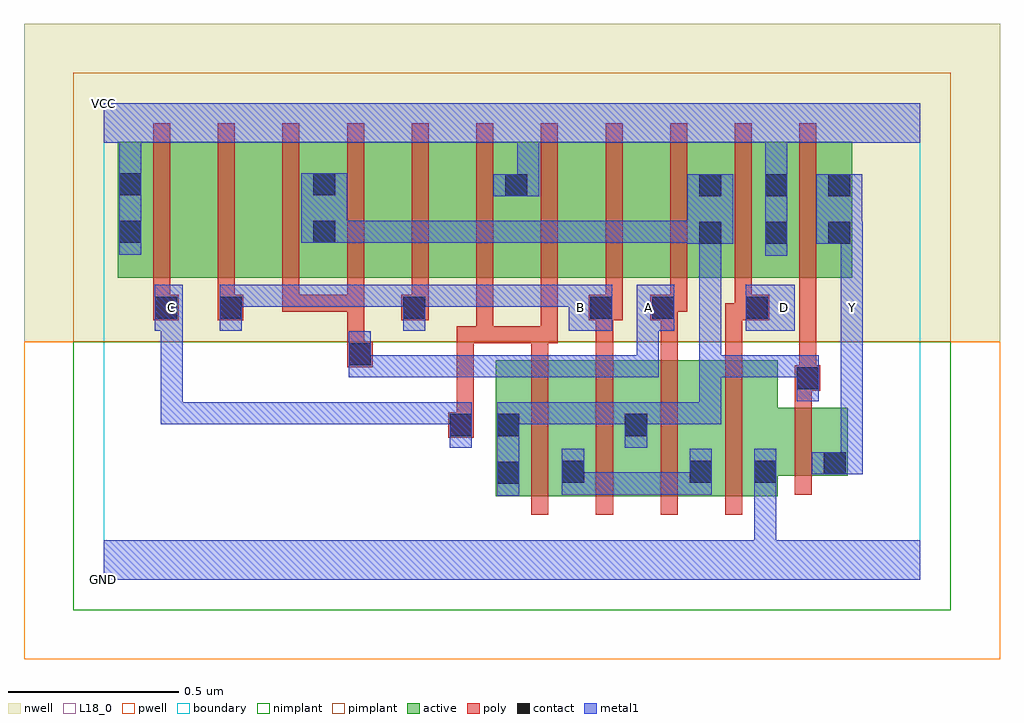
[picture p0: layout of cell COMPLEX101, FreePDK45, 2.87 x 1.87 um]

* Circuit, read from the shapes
.subckt COMPLEX101 A B C D GND VCC Y
M1 n1 C n2 VSUBS nfet w=0.4u l=0.05u
M2 n2 B n1 VSUBS nfet w=0.4u l=0.05u
M3 n1 A n2 VSUBS nfet w=0.4u l=0.05u
M4 GND D n1 VSUBS nfet w=0.4u l=0.05u
M5 Y n2 GND VSUBS nfet w=0.2u l=0.05u
M6 n3 C VCC n4 pfet w=0.4u l=0.05u
M7 n5 B n3 n4 pfet w=0.4u l=0.05u
M8 n2 A n5 n4 pfet w=0.4u l=0.05u
M9 n6 A n2 n4 pfet w=0.4u l=0.05u
M10 n7 B n6 n4 pfet w=0.4u l=0.05u
M11 VCC C n7 n4 pfet w=0.4u l=0.05u
M12 n8 C VCC n4 pfet w=0.4u l=0.05u
M13 n9 B n8 n4 pfet w=0.4u l=0.05u
M14 n2 A n9 n4 pfet w=0.4u l=0.05u
M15 VCC D n2 n4 pfet w=0.4u l=0.05u
M16 Y n2 VCC n4 pfet w=0.4u l=0.05u
.ends

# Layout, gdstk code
import gdstk
lib = gdstk.Library(unit=1e-6, precision=1e-09)
def R(c, l, rs):  # rectangles x0, y0, x1, y1
    for r in rs: c.add(gdstk.rectangle(r[:2], r[2:], *l))
def A(c, l, x, y, w, h, nx, ny, dx, dy):  # array of equal rectangles
    R(c, l, [(x+i*dx, y+j*dy, x+i*dx+w, y+j*dy+h) for i in range(nx) for j in range(ny)])
active = (1, 0)
pwell = (2, 0)
nwell = (3, 0)
nimplant = (4, 0)
pimplant = (5, 0)
poly = (9, 0)
contact = (10, 0)
metal1 = (11, 0)
L18_0 = (18, 0)
boundary = (235, 0)

complex101 = lib.new_cell('COMPLEX101')
A(complex101, active, 0.265, 0.887, 0.19, 0.4, 3, 1, 0.57, 0)
R(complex101, active, [(1.152,0.245,1.417,0.645), (1.152,0.245,1.227,0.645), (1.342,0.245,1.602,0.645), (1.342,0.245,1.417,0.492), (1.527,0.245,1.792,0.645), (1.527,0.245,1.602,0.597), (1.717,0.245,1.982,0.645), (1.717,0.245,1.792,0.567), (1.907,0.245,1.982,0.355), (1.907,0.305,2.187,0.505), (2.112,0.305,2.187,0.505), (0.04,0.887,0.115,1.2), (0.04,0.887,0.265,1.287), (0.455,0.887,0.685,1.287), (0.61,0.887,0.835,1.287), (1.025,0.887,1.25,1.287), (1.175,0.887,1.405,1.287), (1.595,0.887,1.82,1.287), (1.745,0.887,2.015,1.287), (1.94,0.887,2.2,1.287), (2.125,0.887,2.2,1.2), (0.61,0.907,0.685,1.2), (1.175,0.907,1.25,1.197), (1.745,0.907,1.82,1.2), (1.94,0.907,2.015,1.197)])
R(complex101, pwell, [(-0.235,-0.235,2.635,0.7)])
R(complex101, nwell, [(-0.235,0.7,2.635,1.635)])
R(complex101, nimplant, [(-0.09,-0.09,2.49,0.7)])
R(complex101, pimplant, [(-0.09,0.7,2.49,1.49)])
A(complex101, poly, 1.257, 0.19, 0.05, 0.51, 4, 1, 0.19, 0)
A(complex101, poly, 1.447, 0.65, 0.05, 0.162, 3, 1, 0.19, 0)
A(complex101, poly, 0.145, 0.787, 0.05, 0.095, 5, 1, 0.19, 0)
A(complex101, poly, 1.475, 0.787, 0.05, 0.095, 3, 1, 0.19, 0)
A(complex101, poly, 0.145, 0.832, 0.05, 0.51, 11, 1, 0.19, 0)
R(complex101, poly, [(2.032,0.25,2.082,0.56), (1.012,0.417,1.087,0.492), (1.037,0.442,1.087,0.745), (2.032,0.51,2.082,0.605), (2.032,0.555,2.107,0.63), (2.045,0.58,2.095,0.882), (2.045,0.58,2.095,0.63), (2.045,0.58,2.095,0.63), (0.715,0.625,0.79,0.7), (0.715,0.65,0.765,0.837), (1.257,0.65,1.307,0.745), (1.037,0.695,1.087,0.745), (1.037,0.695,1.087,0.745), (1.037,0.695,1.102,0.745), (1.052,0.695,1.102,0.745), (1.052,0.695,1.145,0.745), (1.095,0.695,1.145,0.882), (1.095,0.695,1.307,0.745), (1.257,0.695,1.307,0.745), (1.257,0.695,1.307,0.745), (1.257,0.695,1.307,0.745), (1.257,0.695,1.307,0.745), (1.257,0.695,1.335,0.745), (1.285,0.695,1.335,0.882), (0.145,0.762,0.22,0.837), (0.335,0.762,0.41,0.837), (0.875,0.762,0.955,0.837), (1.425,0.762,1.525,0.837), (1.447,0.762,1.497,0.812), (1.447,0.762,1.497,0.812), (1.607,0.762,1.687,0.837), (1.827,0.762,1.905,0.812), (1.855,0.762,1.905,0.812), (1.855,0.762,1.957,0.837), (0.145,0.787,0.195,0.837), (0.145,0.787,0.195,0.837), (0.525,0.787,0.575,0.837), (0.525,0.787,0.765,0.837), (0.715,0.787,0.765,0.837), (0.715,0.787,0.765,0.837), (0.715,0.787,0.765,0.837), (1.637,0.787,1.687,0.837), (1.637,0.787,1.715,0.837)])
R(complex101, contact, [(1.157,0.282,1.222,0.347), (1.347,0.285,1.412,0.35), (1.722,0.285,1.787,0.35), (1.912,0.285,1.977,0.35), (2.117,0.31,2.182,0.375), (1.017,0.422,1.082,0.487), (1.157,0.422,1.222,0.487), (1.532,0.422,1.597,0.487), (2.037,0.56,2.102,0.625), (0.72,0.63,0.785,0.695), (0.15,0.767,0.215,0.832), (0.34,0.767,0.405,0.832), (0.88,0.767,0.945,0.832), (1.43,0.767,1.495,0.832), (1.612,0.767,1.677,0.832), (1.887,0.767,1.952,0.832), (1.75,0.987,1.815,1.052), (1.945,0.987,2.01,1.052), (2.13,0.987,2.195,1.052), (0.045,0.99,0.11,1.055), (0.615,0.99,0.68,1.055), (1.18,1.127,1.245,1.192), (1.75,1.127,1.815,1.192), (1.945,1.127,2.01,1.192), (2.13,1.127,2.195,1.192), (0.045,1.13,0.11,1.195), (0.615,1.13,0.68,1.195)])
R(complex101, metal1, [(0,0,2.4,0.115), (1.912,0.05,1.977,0.315), (1.157,0.247,1.222,0.522), (1.347,0.25,1.412,0.315), (1.347,0.25,1.412,0.315), (1.347,0.25,1.412,0.385), (1.347,0.25,1.642,0.315), (1.577,0.25,1.642,0.315), (1.577,0.25,1.787,0.315), (1.722,0.25,1.787,0.315), (1.722,0.25,1.787,0.315), (1.722,0.25,1.787,0.385), (1.912,0.25,1.977,0.385), (2.082,0.31,2.232,0.375), (2.167,0.31,2.232,0.797), (1.017,0.387,1.082,0.522), (1.532,0.387,1.597,0.522), (0.167,0.457,0.232,0.522), (0.167,0.457,0.44,0.522), (0.167,0.457,0.232,0.797), (0.375,0.457,0.44,0.522), (0.375,0.457,0.44,0.522), (0.375,0.457,0.44,0.522), (0.375,0.457,0.577,0.522), (0.512,0.457,0.577,0.522), (0.512,0.457,0.715,0.522), (0.65,0.457,0.715,0.522), (0.65,0.457,0.715,0.522), (0.65,0.457,0.715,0.522), (0.65,0.457,0.862,0.522), (0.797,0.457,0.862,0.522), (0.797,0.457,0.922,0.522), (0.857,0.457,0.922,0.522), (0.857,0.457,1,0.522), (0.935,0.457,1,0.522), (0.935,0.457,1,0.522), (0.935,0.457,1,0.522), (0.935,0.457,1.082,0.522), (1.157,0.457,1.275,0.522), (1.21,0.457,1.275,0.522), (1.21,0.457,1.412,0.522), (1.347,0.457,1.412,0.522), (1.347,0.457,1.412,0.522), (1.347,0.457,1.412,0.522), (1.347,0.457,1.597,0.522), (1.532,0.457,1.815,0.522), (1.75,0.457,1.815,0.522), (1.75,0.457,1.815,0.522), (1.75,0.457,1.815,0.522), (1.75,0.457,1.815,0.66), (2.037,0.525,2.102,0.66), (0.72,0.595,0.785,0.73), (0.72,0.595,0.862,0.66), (0.797,0.595,0.862,0.66), (0.797,0.595,0.922,0.66), (0.857,0.595,0.922,0.66), (0.857,0.595,1,0.66), (0.935,0.595,1,0.66), (0.935,0.595,1.137,0.66), (1.072,0.595,1.137,0.66), (1.072,0.595,1.137,0.66), (1.072,0.595,1.137,0.66), (1.072,0.595,1.275,0.66), (1.21,0.595,1.275,0.66), (1.21,0.595,1.46,0.66), (1.395,0.595,1.46,0.66), (1.395,0.595,1.46,0.66), (1.395,0.595,1.46,0.66), (1.395,0.595,1.632,0.66), (1.567,0.595,1.632,0.797), (1.75,0.595,1.815,0.66), (1.75,0.595,1.815,0.66), (1.75,0.595,1.815,0.66), (1.75,0.595,1.952,0.66), (1.75,0.595,1.815,1.052), (1.887,0.595,1.952,0.66), (1.887,0.595,1.952,0.66), (1.887,0.595,1.952,0.66), (1.887,0.595,2.102,0.66), (0.15,0.732,0.232,0.867), (0.167,0.732,0.232,0.797), (0.167,0.732,0.232,0.797), (0.34,0.732,0.405,0.867), (0.88,0.732,0.945,0.867), (1.367,0.732,1.495,0.867), (1.567,0.732,1.632,0.797), (1.567,0.732,1.677,0.867), (1.887,0.732,2.032,0.867), (2.167,0.732,2.232,0.867), (0.34,0.802,0.405,0.867), (0.34,0.802,0.405,0.867), (0.34,0.802,0.577,0.867), (0.512,0.802,0.577,0.867), (0.512,0.802,0.725,0.867), (0.66,0.802,0.725,0.867), (0.66,0.802,0.725,0.867), (0.66,0.802,0.725,0.867), (0.66,0.802,0.862,0.867), (0.797,0.802,0.862,0.867), (0.797,0.802,0.945,0.867), (0.88,0.802,1,0.867), (0.935,0.802,1,0.867), (0.935,0.802,1.137,0.867), (1.072,0.802,1.137,0.867), (1.072,0.802,1.137,0.867), (1.072,0.802,1.137,0.867), (1.072,0.802,1.275,0.867), (1.21,0.802,1.275,0.867), (1.21,0.802,1.432,0.867), (1.367,0.802,1.432,0.867), (1.367,0.802,1.432,0.867), (2.167,0.802,2.232,1.052), (1.945,0.952,2.01,1.227), (0.045,0.955,0.11,1.23), (1.715,0.987,1.85,1.192), (2.095,0.987,2.23,1.192), (2.165,0.987,2.23,1.052), (2.165,0.987,2.232,1.052), (0.58,0.99,0.715,1.195), (0.65,0.99,0.715,1.055), (0.65,0.99,0.715,1.055), (0.65,0.99,0.862,1.055), (0.797,0.99,0.862,1.055), (0.797,0.99,0.922,1.055), (0.857,0.99,0.922,1.055), (0.857,0.99,1,1.055), (0.935,0.99,1,1.055), (0.935,0.99,1.137,1.055), (1.072,0.99,1.137,1.055), (1.072,0.99,1.137,1.055), (1.072,0.99,1.137,1.055), (1.072,0.99,1.275,1.055), (1.21,0.99,1.275,1.055), (1.21,0.99,1.46,1.055), (1.395,0.99,1.46,1.055), (1.395,0.99,1.46,1.055), (1.395,0.99,1.46,1.055), (1.395,0.99,1.642,1.055), (1.577,0.99,1.642,1.055), (1.577,0.99,1.78,1.055), (1.715,0.99,1.78,1.055), (1.715,0.99,1.78,1.055), (1.145,1.127,1.28,1.192), (1.215,1.127,1.28,1.35), (1.945,1.162,2.01,1.35), (0.045,1.165,0.11,1.35), (0,1.285,2.4,1.4)])
R(complex101, L18_0, [(0,0,2.4,0.115), (1.912,0.05,1.977,0.315), (1.912,0.25,1.977,0.385), (2.082,0.31,2.232,0.375), (2.167,0.31,2.232,0.797), (1.017,0.387,1.082,0.522), (0.167,0.457,0.232,0.522), (0.167,0.457,0.232,0.797), (0.167,0.457,0.44,0.522), (0.375,0.457,0.44,0.522), (0.375,0.457,0.44,0.522), (0.375,0.457,0.44,0.522), (0.375,0.457,0.577,0.522), (0.512,0.457,0.577,0.522), (0.512,0.457,0.715,0.522), (0.65,0.457,0.715,0.522), (0.65,0.457,0.715,0.522), (0.65,0.457,0.715,0.522), (0.65,0.457,0.862,0.522), (0.797,0.457,0.862,0.522), (0.797,0.457,0.922,0.522), (0.857,0.457,0.922,0.522), (0.857,0.457,1,0.522), (0.935,0.457,1,0.522), (0.935,0.457,1,0.522), (0.935,0.457,1,0.522), (0.935,0.457,1.082,0.522), (0.72,0.595,0.785,0.73), (0.72,0.595,0.862,0.66), (0.797,0.595,0.862,0.66), (0.797,0.595,0.922,0.66), (0.857,0.595,0.922,0.66), (0.857,0.595,1,0.66), (0.935,0.595,1,0.66), (0.935,0.595,1.137,0.66), (1.072,0.595,1.137,0.66), (1.072,0.595,1.137,0.66), (1.072,0.595,1.137,0.66), (1.072,0.595,1.275,0.66), (1.21,0.595,1.275,0.66), (1.21,0.595,1.46,0.66), (1.395,0.595,1.46,0.66), (1.395,0.595,1.46,0.66), (1.395,0.595,1.46,0.66), (1.395,0.595,1.632,0.66), (1.567,0.595,1.632,0.797), (0.15,0.732,0.232,0.867), (0.167,0.732,0.232,0.797), (0.167,0.732,0.232,0.797), (0.34,0.732,0.405,0.867), (0.88,0.732,0.945,0.867), (1.367,0.732,1.495,0.867), (1.567,0.732,1.632,0.797), (1.567,0.732,1.677,0.867), (1.887,0.732,2.032,0.867), (2.167,0.732,2.232,0.867), (0.167,0.767,0.232,0.832), (1.367,0.767,1.432,0.832), (1.567,0.767,1.632,0.832), (1.967,0.767,2.032,0.832), (2.167,0.767,2.232,0.832), (0.34,0.802,0.405,0.867), (0.34,0.802,0.405,0.867), (0.34,0.802,0.577,0.867), (0.512,0.802,0.577,0.867), (0.512,0.802,0.725,0.867), (0.66,0.802,0.725,0.867), (0.66,0.802,0.725,0.867), (0.66,0.802,0.725,0.867), (0.66,0.802,0.862,0.867), (0.797,0.802,0.862,0.867), (0.797,0.802,0.945,0.867), (0.88,0.802,1,0.867), (0.935,0.802,1,0.867), (0.935,0.802,1.137,0.867), (1.072,0.802,1.137,0.867), (1.072,0.802,1.137,0.867), (1.072,0.802,1.137,0.867), (1.072,0.802,1.275,0.867), (1.21,0.802,1.275,0.867), (1.21,0.802,1.432,0.867), (1.367,0.802,1.432,0.867), (1.367,0.802,1.432,0.867), (2.167,0.802,2.232,1.052), (1.945,0.952,2.01,1.227), (0.045,0.955,0.11,1.23), (2.095,0.987,2.23,1.192), (2.165,0.987,2.23,1.052), (2.165,0.987,2.232,1.052), (1.145,1.127,1.28,1.192), (1.215,1.127,1.28,1.35), (1.945,1.162,2.01,1.35), (0.045,1.165,0.11,1.35), (0,1.285,2.4,1.4)])
R(complex101, boundary, [(0,0,2.4,1.4)])
complex101.add(gdstk.Label('A', (1.6,0.8), layer=11, texttype=0))
complex101.add(gdstk.Label('B', (1.4,0.8), layer=11, texttype=0))
complex101.add(gdstk.Label('C', (0.2,0.8), layer=11, texttype=0))
complex101.add(gdstk.Label('D', (2,0.8), layer=11, texttype=0))
complex101.add(gdstk.Label('Y', (2.2,0.8), layer=11, texttype=0))
complex101.add(gdstk.Label('VCC', (0,1.4), layer=11, texttype=0))
complex101.add(gdstk.Label('GND', (0,0), layer=11, texttype=0))

lib.write_gds('COMPLEX101.gds')
